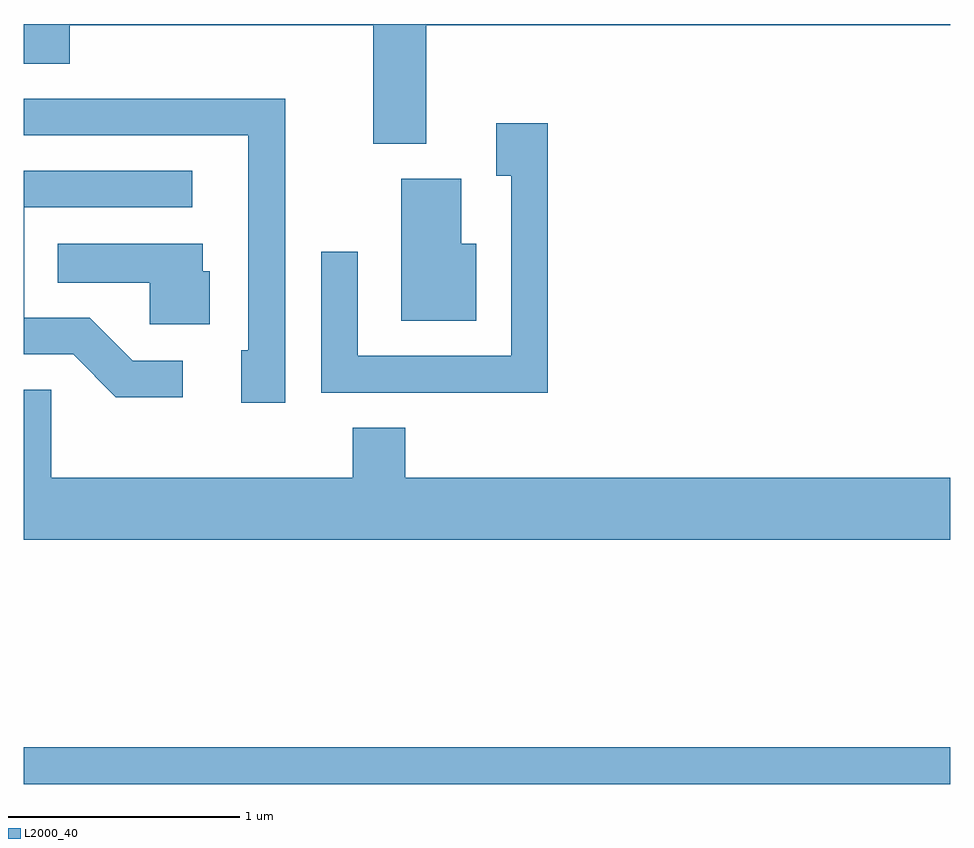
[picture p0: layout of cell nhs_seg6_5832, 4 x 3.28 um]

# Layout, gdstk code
import gdstk
lib = gdstk.Library(unit=1e-6, precision=1e-09)
def R(c, l, rs):  # rectangles x0, y0, x1, y1
    for r in rs: c.add(gdstk.rectangle(r[:2], r[2:], *l))
def P(c, l, *ps):  # polygons
    for p in ps: c.add(gdstk.Polygon(p, *l))
L2000_40 = (2000, 40)

nhs_seg6_5832 = lib.new_cell('nhs_seg6_5832')
R(nhs_seg6_5832, L2000_40, [(361.611,1648.881,365.611,1649.039)])
P(nhs_seg6_5832, L2000_40, [(365.611,1652.162),(361.611,1652.162),(361.611,1651.991),(361.809,1651.991),(361.809,1652.156),(363.121,1652.156),(363.121,1651.646),(363.349,1651.646),(363.349,1652.156),(365.611,1652.156)],
  [(362.739,1651.839),(361.611,1651.839),(361.611,1651.681),(362.581,1651.681),(362.581,1650.754),(362.551,1650.754),(362.551,1650.526),(362.739,1650.526)],
  [(363.874,1651.734),(363.651,1651.734),(363.651,1651.506),(363.716,1651.506),(363.716,1650.729),(363.054,1650.729),(363.054,1651.178),(362.896,1651.178),(362.896,1650.571),(363.874,1650.571)],
  [(362.298,1650.709),(362.082,1650.709),(361.897,1650.894),(361.614,1650.894),(361.614,1651.371),(362.338,1651.371),(362.338,1651.529),(361.611,1651.529),(361.611,1650.736),(361.824,1650.736),(362.009,1650.551),(362.298,1650.551)],
  [(363.564,1651.214),(363.499,1651.214),(363.499,1651.494),(363.241,1651.494),(363.241,1650.881),(363.564,1650.881)],
  [(362.414,1651.094),(362.384,1651.094),(362.384,1651.214),(361.758,1651.214),(361.758,1651.046),(362.156,1651.046),(362.156,1650.866),(362.414,1650.866)],
  [(365.611,1650.204),(363.259,1650.204),(363.259,1650.419),(363.031,1650.419),(363.031,1650.204),(361.729,1650.204),(361.729,1650.584),(361.611,1650.584),(361.611,1649.936),(365.611,1649.936)])

lib.write_gds('nhs_seg6_5832.gds')
